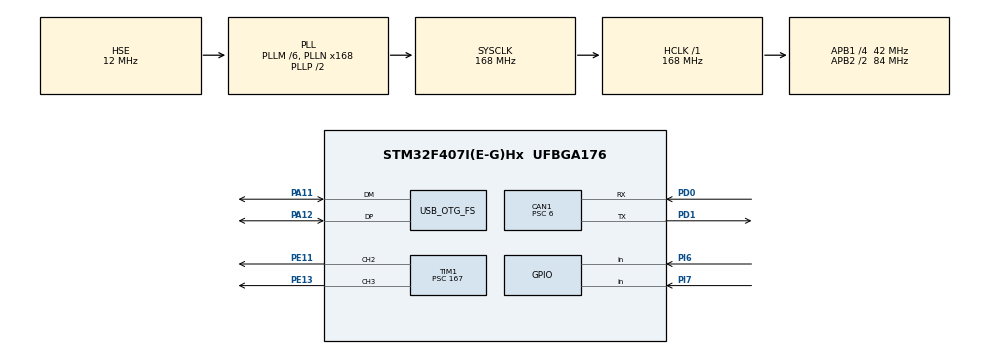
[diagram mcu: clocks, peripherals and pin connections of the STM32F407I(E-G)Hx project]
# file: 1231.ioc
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CAN1.BS1=CAN_BS1_4TQ
CAN1.BS2=CAN_BS2_2TQ
CAN1.CalculateBaudRate=1000000
CAN1.CalculateTimeBit=1000
CAN1.CalculateTimeQuantum=142.85714285714286
CAN1.Prescaler=6
Mcu.Family=STM32F4
Mcu.Name=STM32F407I(E-G)Hx
Mcu.Package=UFBGA176
NVIC.CAN1_RX0_IRQn=true\:0\:0\:false\:false\:true\:true\:true\:true
NVIC.OTG_FS_IRQn=true\:0\:0\:false\:false\:true\:false\:true\:true
NVIC.PriorityGroup=NVIC_PRIORITYGROUP_4
PA11.Mode=Device_Only
PA11.Signal=USB_OTG_FS_DM
PA12.Mode=Device_Only
PA12.Signal=USB_OTG_FS_DP
PA13.Mode=Serial_Wire
PA13.Signal=SYS_JTMS-SWDIO
PA14.Mode=Serial_Wire
PA14.Signal=SYS_JTCK-SWCLK
PC6.Signal=S_TIM8_CH1
PD0.Mode=CAN_Activate
PD0.Signal=CAN1_RX
PD1.Mode=CAN_Activate
PD1.Signal=CAN1_TX
PE11.Signal=S_TIM1_CH2
PE13.Signal=S_TIM1_CH3
PE9.Signal=S_TIM1_CH1
PH0-OSC_IN.Mode=HSE-External-Oscillator
PH0-OSC_IN.Signal=RCC_OSC_IN
PH1-OSC_OUT.Mode=HSE-External-Oscillator
PH1-OSC_OUT.Signal=RCC_OSC_OUT
PI6.GPIO_PuPd=GPIO_PULLDOWN
PI6.Signal=GPIO_Input
PI7.GPIO_PuPd=GPIO_PULLDOWN
PI7.Signal=GPIO_Input
ProjectManager.HeapSize=0x200
ProjectManager.StackSize=0x400
ProjectManager.TargetToolchain=MDK-ARM V5
RCC.48MHZClocksFreq_Value=48000000
RCC.AHBFreq_Value=168000000
RCC.APB1CLKDivider=RCC_HCLK_DIV4
RCC.APB1Freq_Value=42000000
RCC.APB1TimFreq_Value=84000000
RCC.APB2CLKDivider=RCC_HCLK_DIV2
RCC.APB2Freq_Value=84000000
RCC.APB2TimFreq_Value=168000000
RCC.CortexFreq_Value=168000000
RCC.HCLKFreq_Value=168000000
RCC.HSE_VALUE=12000000
RCC.HSI_VALUE=16000000
RCC.LSE_VALUE=32768
RCC.PLLM=6
RCC.PLLN=168
RCC.PLLQ=7
RCC.SYSCLKFreq_VALUE=168000000
RCC.SYSCLKSource=RCC_SYSCLKSOURCE_PLLCLK
RCC.VCOOutputFreq_Value=336000000
SH.S_TIM1_CH1.0=TIM1_CH1
SH.S_TIM1_CH2.0=TIM1_CH2,PWM Generation2 CH2
SH.S_TIM1_CH3.0=TIM1_CH3,PWM Generation3 CH3
SH.S_TIM8_CH1.0=TIM8_CH1
TIM1.Channel-PWM\ Generation2\ CH2=TIM_CHANNEL_2
TIM1.Channel-PWM\ Generation3\ CH3=TIM_CHANNEL_3
TIM1.Period=19999
TIM1.Prescaler=167
USB_DEVICE.CLASS_NAME_FS=CDC
USB_DEVICE.VirtualMode-CDC_FS=Cdc
USB_DEVICE.VirtualModeFS=Cdc_FS
USB_OTG_FS.VirtualMode=Device_Only
VP_TIM1_VS_ClockSourceINT.Mode=Internal
VP_USB_DEVICE_VS_USB_DEVICE_CDC_FS.Mode=CDC_FS
board=custom

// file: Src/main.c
/* USER CODE BEGIN Header */
/**
  ******************************************************************************
  * @file           : main.c
  * @brief          : Main program body
  ******************************************************************************
  * @attention
  *
  * Copyright (c) 2024 STMicroelectronics.
  * All rights reserved.
  *
  * This software is licensed under terms that can be found in the LICENSE file
  * in the root directory of this software component.
  * If no LICENSE file comes with this software, it is provided AS-IS.
  *
  ******************************************************************************
  */
/* USER CODE END Header */
#include "main.h"
#include "can.h"
#include "tim.h"
#include "usb_device.h"
#include "gpio.h"

/* USER CODE BEGIN Includes */
#include "stdlib.h"
#include "math.h"
#include "pid.h"
#include "usbd_cdc_if.h"

pid_struct_t motor_pid_Single;//定义单个pid结构体
pid_Cascade_t motor_pid_Cas;//定义串级pid结构体

/* USER CODE END Includes */

/* USER CODE BEGIN PV */
uint16_t  CAN_ID;  //ID

CAN_TxHeaderTypeDef TxHeader;
CAN_RxHeaderTypeDef RxHeader;

uint8_t TxData[8];
uint8_t RxData[8];

uint32_t TxMailbox;

typedef struct
{
    int16_t rotor_angle;
    int16_t  rotor_speed;
    int16_t  torque_current;
    uint8_t  motor_temperature;
    int16_t  last_ecd;
} Motor_Info;
Motor_Info motor_info;

int16_t motor1Target = 4000;
int16_t current_target;
int32_t motor2Target = 0;

uint8_t direction_decide = 0;
uint32_t timer1 = 0;
uint8_t flag1 = 0;
uint8_t flag2 = 0;

uint8_t oncerun1 = 1;

uint8_t receivebuff[11];
uint8_t transmitbuff[4];

uint16_t previous_position = 4000;
uint16_t current_position;
int8_t circle_count = 0;

/* USER CODE END PV */

void SystemClock_Config(void);

/* USER CODE BEGIN 0 */
uint8_t canCRC_ATM(uint8_t *buf,uint8_t len);
void CanTransfer(uint8_t *buf,uint8_t len);
void HAL_CAN_RxFifo0MsgPendingCallback(CAN_HandleTypeDef *hcan);
void positionMode3Run(uint8_t slaveAddr,uint16_t speed,uint8_t acc,int32_t absAxis);
void Gohome(int16_t setv);
/* USER CODE END 0 */

int main(void)
{

  /* MCU Configuration--------------------------------------------------------*/

  /* Reset of all peripherals, Initializes the Flash interface and the Systick. */
  HAL_Init();

  /* USER CODE BEGIN Init */
	pid_init(&motor_pid_Cas.inner, 1, 0.00001, 0, 3000, 3000);
    pid_init(&motor_pid_Cas.outer, 20, 0.02, 200, 3000, 3000);

    transmitbuff[0] = 0x55;
	transmitbuff[1] = 0x11;
	transmitbuff[3] = 0xFF;
  /* USER CODE END Init */

  /* Configure the system clock */
  SystemClock_Config();

  /* Initialize all configured peripherals */
  MX_GPIO_Init();
  MX_CAN1_Init();
  MX_TIM1_Init();
  MX_USB_DEVICE_Init();
  /* USER CODE BEGIN 2 */
  HAL_TIM_Base_Start(&htim1);
  HAL_TIM_PWM_Start(&htim1, TIM_CHANNEL_2);
  HAL_TIM_PWM_Start(&htim1, TIM_CHANNEL_3);

  HAL_CAN_Start(&hcan1);

  //Activate the nofication
  HAL_CAN_ActivateNotification(&hcan1,CAN_IT_RX_FIFO0_MSG_PENDING);

  HAL_Delay(3000);

  /* USER CODE END 2 */

  /* Infinite loop */
  /* USER CODE BEGIN WHILE */
  while (1)
  {

	  if (HAL_GPIO_ReadPin(GPIOI,GPIO_PIN_6) == GPIO_PIN_RESET)
	  {
		  direction_decide = 0;//决定不抓
		  motor1Target = 4000;
		  motor2Target = 0;

		  flag2 = 0;
		  oncerun1 = 1;

		  if (flag1 == 0) // 如果还未开始计时
          {
              timer1 = HAL_GetTick(); // 记录当前时间
              flag1 = 1; // 设置标志为已计时
			  __HAL_TIM_SetCompare(&htim1, TIM_CHANNEL_2, 1000);//爪子放开
			  __HAL_TIM_SetCompare(&htim1, TIM_CHANNEL_3, 800);

          }
          else if (HAL_GetTick() - timer1 > 800) // 检查是否经过0.8秒
          {
              motor2Target = 0x10000;//应是计算出的250mm距离

          }

	  }else
	  {
		  direction_decide = 1;//决定抓
		  flag1 = 0;

		  //以下东西仅运动一次（非阻塞模式下）
		  if (flag2 ==0)
		  {
			  timer1 = HAL_GetTick();
		      flag2 = 1;
		  }else if(HAL_GetTick() - timer1 <= 500)
		  {
			  if (oncerun1)
			  {
				  oncerun1 = 0;
			      int16_t ror = rand() % 360;
			      int16_t lenen = rand() % 250;

			      motor1Target = (int16_t)(ror * 22.7527f);
		          motor2Target = (int32_t)(lenen * 273.06667f);
			  }
			  //等待500ms
		  }else if (HAL_GetTick() - timer1 <= 1500)
		  {

		  }else if (HAL_GetTick() - timer1 <= 2500)//延迟3000ms，开始舵机1运动
	      {
		      __HAL_TIM_SetCompare(&htim1, TIM_CHANNEL_3, 1300);
		  }else if (HAL_GetTick() - timer1 <= 3300)//延迟1000ms，开始舵机2运动
		  {
			  __HAL_TIM_SetCompare(&htim1, TIM_CHANNEL_2, 1900);
		  }else if (HAL_GetTick() - timer1 <= 4100)//延迟800ms，舵机1反转
		  {
			  __HAL_TIM_SetCompare(&htim1, TIM_CHANNEL_3, 800);
		  }else
		  {
			  motor2Target = 0;
		  }

	  }
	  if (abs(motor_info.rotor_angle - motor1Target) > 200)
	  {
		  int16_t delta = motor_info.rotor_angle - motor1Target;
		  current_target = motor_info.rotor_angle + ((delta < 0) - (delta > 0))*200;
	  }else
	  {
		  current_target = motor1Target;
	  }

	  int16_t set_voltage = pid_CascadeCalc(&motor_pid_Cas,current_target,motor_info.rotor_angle,motor_info.rotor_speed);
	  Gohome(set_voltage);
	  positionMode3Run(1,200,200,motor2Target);

	  if (HAL_GPIO_ReadPin(GPIOI,GPIO_PIN_7) == GPIO_PIN_RESET)
	  {
		  transmitbuff[2] = 0x00;
	  }else
	  {
		  transmitbuff[2] = 0x01;
	  }
	  CDC_Transmit_FS(transmitbuff, 4);
	  HAL_Delay(10);

    /* USER CODE END WHILE */

  }
}

void SystemClock_Config(void)
{
  RCC_OscInitTypeDef RCC_OscInitStruct = {0};
  RCC_ClkInitTypeDef RCC_ClkInitStruct = {0};

  /** Configure the main internal regulator output voltage
  */
  __HAL_RCC_PWR_CLK_ENABLE();
  __HAL_PWR_VOLTAGESCALING_CONFIG(PWR_REGULATOR_VOLTAGE_SCALE1);

  /** Initializes the RCC Oscillators according to the specified parameters
  * in the RCC_OscInitTypeDef structure.
  */
  RCC_OscInitStruct.OscillatorType = RCC_OSCILLATORTYPE_HSE;
  RCC_OscInitStruct.HSEState = RCC_HSE_ON;
  RCC_OscInitStruct.PLL.PLLState = RCC_PLL_ON;
  RCC_OscInitStruct.PLL.PLLSource = RCC_PLLSOURCE_HSE;
  RCC_OscInitStruct.PLL.PLLM = 6;
  RCC_OscInitStruct.PLL.PLLN = 168;
  RCC_OscInitStruct.PLL.PLLP = RCC_PLLP_DIV2;
  RCC_OscInitStruct.PLL.PLLQ = 7;
  if (HAL_RCC_OscConfig(&RCC_OscInitStruct) != HAL_OK)
  {
    Error_Handler();
  }

  /** Initializes the CPU, AHB and APB buses clocks
  */
  RCC_ClkInitStruct.ClockType = RCC_CLOCKTYPE_HCLK|RCC_CLOCKTYPE_SYSCLK
                              |RCC_CLOCKTYPE_PCLK1|RCC_CLOCKTYPE_PCLK2;
  RCC_ClkInitStruct.SYSCLKSource = RCC_SYSCLKSOURCE_PLLCLK;
  RCC_ClkInitStruct.AHBCLKDivider = RCC_SYSCLK_DIV1;
  RCC_ClkInitStruct.APB1CLKDivider = RCC_HCLK_DIV4;
  RCC_ClkInitStruct.APB2CLKDivider = RCC_HCLK_DIV2;

  if (HAL_RCC_ClockConfig(&RCC_ClkInitStruct, FLASH_LATENCY_5) != HAL_OK)
  {
    Error_Handler();
  }
}

/* USER CODE BEGIN 4 */
//CAN发出标准帧
void CanTransfer(uint8_t *buf,uint8_t len)
{
    /* Init Transmit frame*/
    TxHeader.StdId   = CAN_ID;
    TxHeader.IDE     = CAN_ID_STD;
    TxHeader.RTR     = CAN_RTR_DATA;
    TxHeader.DLC     = len;

	 memcpy(TxData,buf,len-1);
	 TxData[len-1] = canCRC_ATM(buf,len-1);

	HAL_CAN_AddTxMessage(&hcan1,&TxHeader,TxData,&TxMailbox);
}

//计算校验和
uint8_t canCRC_ATM(uint8_t *buf,uint8_t len) //CRC_SUM8
{
	uint32_t i;
	uint8_t check_sum;
	uint32_t sum = 0;

	for(i=0;i<len;i++)
	{
		sum += buf[i];
	}
	sum += CAN_ID;
	check_sum = sum & 0xFF;
	return check_sum;
}

/*
功能：串口发送位置模式3运行指令
输入：slaveAddr 从机地址
      speed     运行速度
      acc       加速度
      absAxis   绝对坐标
*/
void positionMode3Run(uint8_t slaveAddr,uint16_t speed,uint8_t acc,int32_t absAxis)
{
    CAN_ID = slaveAddr;				//ID

  TxData[0] = 0xF5;       //功能码
  TxData[1] = (speed>>8)&0x00FF; //速度高8位
  TxData[2] = speed&0x00FF;     //速度低8位
  TxData[3] = acc;            //加速度
  TxData[4] = (absAxis >> 16)&0xFF;  //绝对坐标 bit23 - bit16
  TxData[5] = (absAxis >> 8)&0xFF;   //绝对坐标 bit15 - bit8
  TxData[6] = (absAxis >> 0)&0xFF;   //绝对坐标 bit7 - bit0

	CanTransfer(TxData,8);
}

//CAN接收数据
void HAL_CAN_RxFifo0MsgPendingCallback(CAN_HandleTypeDef *hcan)
{

	if(hcan->Instance==CAN1)
    {
        /*
          hcan
          CAN_RX_FIFO0:  [ sFilterConfig.FilterFIFOAssignment = CAN_FILTER_FIFO0;  ]
          RxMessage:
          aData:the payload of the Rx frame will be stored
        */
        if(HAL_CAN_GetRxMessage(hcan,CAN_RX_FIFO0,&RxHeader,RxData)==HAL_OK)
        {

            motor_info.rotor_angle       = ((RxData[0] << 8) | RxData[1]);
            motor_info.rotor_speed       = ((RxData[2] << 8) | RxData[3]);
            motor_info.torque_current    = ((RxData[4] << 8) | RxData[5]);
            motor_info.motor_temperature =   RxData[6];

			current_position = motor_info.rotor_angle;

			int16_t delta = current_position - previous_position;

			if (delta > 4095)
			{
			    circle_count -= 1;
			}else if(delta < -4095)
			{
				circle_count += 1;
			}
			motor_info.rotor_angle = circle_count * 8191 + current_position;;

			previous_position = current_position;
            HAL_CAN_ActivateNotification(hcan, CAN_IT_RX_FIFO0_MSG_PENDING);  // The FIFO0 receive interrupt function was enabled again
        }
    }
}

void Gohome(int16_t setv)
{
	CAN_ID = 0x1FF;
    TxData[0] = (setv>>8)&0x00FF; //速度高8位
    TxData[1] = setv&0x00FF;     //速度低8位
    TxData[2] = (setv>>8)&0x00FF; //速度高8位
    TxData[3] = setv&0x00FF;
    TxData[4] = (setv>>8)&0x00FF;
    TxData[5] = setv&0x00FF;
    TxData[6] = (setv>>8)&0x00FF;
    TxData[7] = setv&0x00FF;
	CanTransfer(TxData,8);

}

/* USER CODE END 4 */

void Error_Handler(void)
{
  __disable_irq();
  while (1)
  {
  }
}
